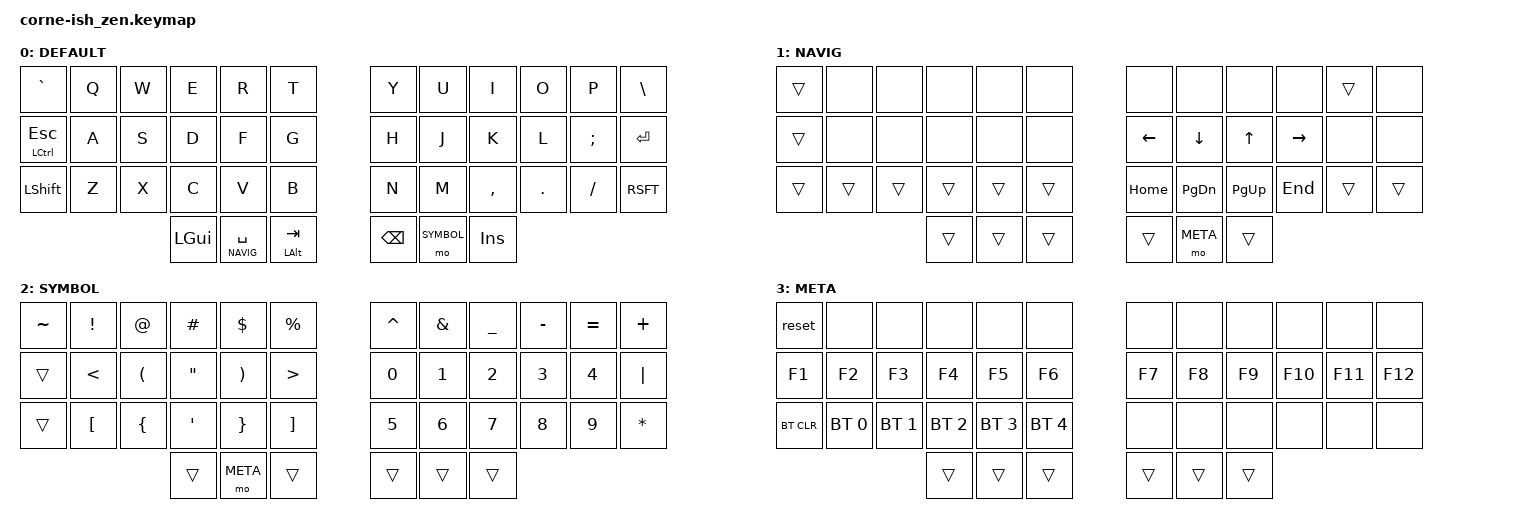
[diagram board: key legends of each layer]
/*
*
* Copyright (c) 2021 lowprokb.ca
* SPDX-License-Identifier: MIT
*
*/

#include <behaviors.dtsi>
#include <dt-bindings/zmk/keys.h>
#include <dt-bindings/zmk/bt.h>

#define DEFAULT 0
#define NAVIG 1
#define SYMBOL 2
#define META 3

/ {
        keymap {
                compatible = "zmk,keymap";

                default_layer {
                        label = "DEFAULT";
                        bindings = <
        &kp GRAVE      &kp Q &kp W &kp E &kp R &kp T    &kp Y &kp U &kp I    &kp O   &kp P    &kp BSLH
        &mt LCTRL ESC  &kp A &kp S &kp D &kp F &kp G    &kp H &kp J &kp K    &kp L   &kp SEMI &kp ENTER 
        &kp LSHFT      &kp Z &kp X &kp C &kp V &kp B    &kp N &kp M &kp CMMA &kp DOT &kp FSLH &kp RSFT
                   &kp LGUI &lt NAVIG SPACE &mt LALT TAB    &kp BKSP &mo SYMBOL &kp INS  
                        >;
                };

                navig_layer {
                        label = "NAVIG";
                        bindings = <
        &trans &none &none &none &none &none    &none &none &none &none &trans &none
        &trans &none &none &none &none &none    &kp LEFT &kp DOWN &kp UP &kp RIGHT &none &none
        &trans &trans &trans &trans &trans &trans    &kp HOME &kp PG_DN &kp PG_UP &kp END &trans &trans
                &trans &trans &trans              &trans &mo META &trans
                        >;
                };

                symbo_layer {
                        label = "SYMBOL";
                        bindings = <
        &kp TILDE &kp EXCL &kp AT &kp HASH &kp DLLR &kp PRCNT   &kp CARET &kp AMPS &kp UNDER &kp MINUS &kp EQUAL &kp PLUS
        &trans    &kp LT   &kp LPAR &kp DQT &kp RPAR &kp GT     &kp N0    &kp N1   &kp N2    &kp N3   &kp N4 &kp PIPE
        &trans    &kp LBKT &kp LBRC &kp SQT &kp RBRC &kp RBKT   &kp N5    &kp N6   &kp N7    &kp N8   &kp N9 &kp STAR 
           &trans &mo META &trans                                     &trans &trans &trans
                        >;
                };

                meta_layer {
                        label = "META";
                        bindings = <
        &reset  &none   &none &none &none &none         &none &none &none &none &none &none
        &kp F1      &kp F2  &kp F3   &kp F4    &kp F5 &kp F6    &kp F7   &kp F8   &kp F9 &kp F10   &kp F11 &kp F12
        &bt BT_CLR &bt BT_SEL 0 &bt BT_SEL 1 &bt BT_SEL 2 &bt BT_SEL 3 &bt BT_SEL 4    &none &none &none &none &none &none
                &trans &trans &trans                    &trans &trans &trans
                        >;
                };

	};
};
